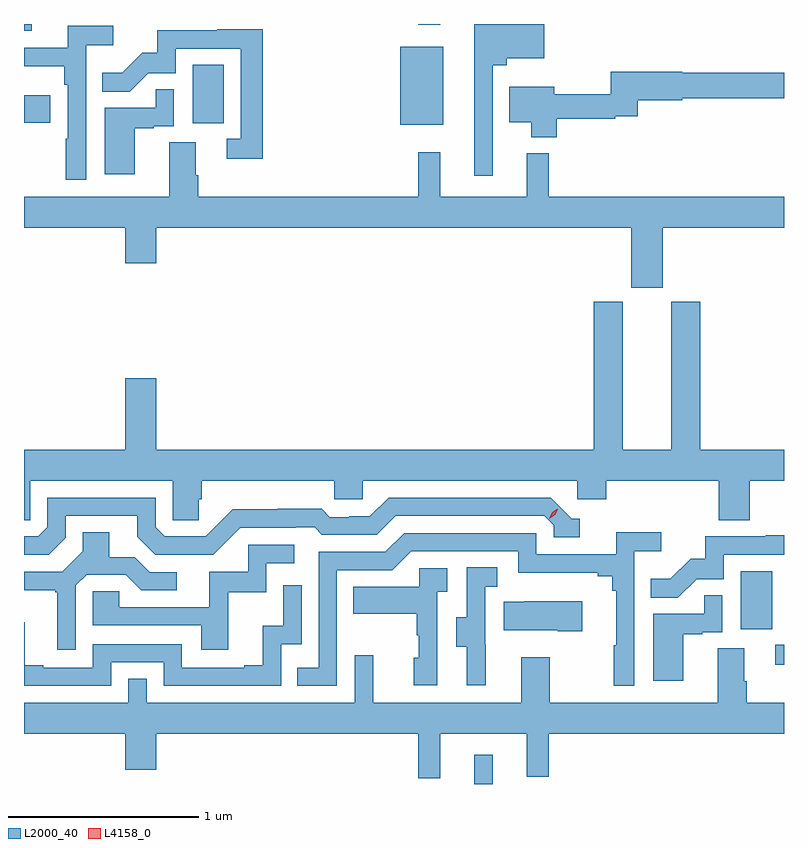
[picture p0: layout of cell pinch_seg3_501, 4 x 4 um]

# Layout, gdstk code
import gdstk
lib = gdstk.Library(unit=1e-6, precision=1e-09)
def R(c, l, rs):  # rectangles x0, y0, x1, y1
    for r in rs: c.add(gdstk.rectangle(r[:2], r[2:], *l))
def P(c, l, *ps):  # polygons
    for p in ps: c.add(gdstk.Polygon(p, *l))
L2000_40 = (2000, 40)
L4158_0 = (4158, 0)

pinch_seg3_501 = lib.new_cell('pinch_seg3_501')
R(pinch_seg3_501, L2000_40, [(982.028,680.672,982.125,680.827), (983.613,681.3,983.659,681.405), (983.432,681.486,983.596,681.793), (981.638,684.143,981.865,684.553), (980.546,684.15,980.71,684.457), (979.659,684.151,979.798,684.298), (979.659,684.636,979.699,684.672), (981.733,684.669,981.85,684.672)])
P(pinch_seg3_501, L2000_40, [(982.125,684.455),(982.199,684.455),(982.199,684.491),(982.398,684.491),(982.398,684.672),(982.028,684.672),(982.028,683.874),(982.125,683.874)],
  [(979.986,684.56),(980.128,684.56),(980.128,684.662),(979.889,684.662),(979.889,684.546),(979.659,684.546),(979.659,684.449),(979.87,684.449),(979.87,684.353),(979.89,684.353),(979.89,684.068),(979.878,684.068),(979.878,683.853),(979.986,683.853)],
  [(980.915,684.644),(980.677,684.644),(980.677,684.639),(980.359,684.639),(980.359,684.522),(980.282,684.522),(980.175,684.415),(980.071,684.415),(980.071,684.316),(980.215,684.316),(980.313,684.414),(980.457,684.414),(980.457,684.543),(980.799,684.543),(980.799,684.069),(980.727,684.069),(980.727,683.964),(980.915,683.964)],
  [(982.463,684.174),(982.772,684.174),(982.772,684.186),(982.889,684.186),(982.889,684.272),(983.124,684.272),(983.124,684.28),(983.659,684.28),(983.659,684.416),(983.124,684.416),(983.124,684.422),(982.748,684.422),(982.748,684.302),(982.45,684.302),(982.45,684.343),(982.214,684.343),(982.214,684.155),(982.328,684.155),(982.328,684.077),(982.463,684.077)],
  [(980.242,684.123),(980.342,684.123),(980.342,684.135),(980.448,684.135),(980.448,684.329),(980.353,684.329),(980.353,684.231),(980.084,684.231),(980.084,683.88),(980.242,683.88)],
  [(983.02,683.6),(983.659,683.6),(983.659,683.764),(982.421,683.764),(982.421,683.992),(982.304,683.992),(982.304,683.764),(981.851,683.764),(981.851,683.998),(981.733,683.998),(981.733,683.764),(980.576,683.764),(980.576,683.876),(980.563,683.876),(980.563,684.05),(980.423,684.05),(980.423,683.764),(979.659,683.764),(979.659,683.6),(980.192,683.6),(980.192,683.412),(980.356,683.412),(980.356,683.6),(982.856,683.6),(982.856,683.283),(983.02,683.283)],
  [(979.692,682.268),(980.442,682.268),(980.442,682.06),(980.579,682.06),(980.579,682.17),(980.594,682.17),(980.594,682.268),(981.291,682.268),(981.291,682.17),(981.441,682.17),(981.441,682.268),(982.572,682.268),(982.572,682.17),(982.724,682.17),(982.724,682.268),(983.315,682.268),(983.315,682.06),(983.48,682.06),(983.48,682.268),(983.659,682.268),(983.659,682.432),(983.219,682.432),(983.219,683.211),(983.066,683.211),(983.066,682.432),(982.81,682.432),(982.81,683.211),(982.658,683.211),(982.658,682.432),(980.356,682.432),(980.356,682.807),(980.192,682.807),(980.192,682.432),(979.659,682.432),(979.659,682.06),(979.692,682.06)],
  [(979.878,681.969),(979.878,682.083),(980.255,682.083),(980.255,681.973),(980.349,681.879),(980.655,681.879),(980.796,682.02),(981.089,682.02),(981.089,682.023),(981.188,682.023),(981.227,681.984),(981.516,681.984),(981.615,682.083),(982.398,682.083),(982.446,682.035),(982.446,681.972),(982.585,681.972),(982.585,682.068),(982.542,682.068),(982.431,682.179),(981.578,682.179),(981.479,682.08),(981.372,682.08),(981.372,682.077),(981.269,682.077),(981.227,682.12),(980.994,682.12),(980.994,682.117),(980.758,682.117),(980.616,681.975),(980.4,681.975),(980.352,682.023),(980.352,682.179),(979.782,682.179),(979.782,682.023),(979.734,681.975),(979.659,681.975),(979.659,681.879),(979.788,681.879)],
  [(979.932,681.717),(979.989,681.774),(980.195,681.774),(980.276,681.693),(980.464,681.693),(980.464,681.786),(980.322,681.786),(980.242,681.866),(980.107,681.866),(980.107,681.998),(979.967,681.998),(979.967,681.896),(979.86,681.789),(979.659,681.789),(979.659,681.692),(979.824,681.692),(979.824,681.681),(979.835,681.681),(979.835,681.378),(979.932,681.378)],
  [(981.306,681.798),(981.597,681.798),(981.696,681.897),(982.26,681.897),(982.26,681.785),(982.679,681.785),(982.679,681.766),(982.756,681.766),(982.756,681.689),(982.775,681.689),(982.775,681.401),(982.764,681.401),(982.764,681.189),(982.872,681.189),(982.872,681.896),(983.014,681.896),(983.014,681.998),(982.775,681.998),(982.775,681.882),(982.356,681.882),(982.356,681.993),(981.659,681.993),(981.56,681.894),(981.21,681.894),(981.21,681.285),(981.097,681.285),(981.097,681.189),(981.306,681.189)],
  [(983.199,681.75),(983.343,681.75),(983.343,681.879),(983.659,681.879),(983.659,681.98),(983.563,681.98),(983.563,681.975),(983.245,681.975),(983.245,681.858),(983.168,681.858),(983.061,681.751),(982.957,681.751),(982.957,681.652),(983.101,681.652)],
  [(980.735,681.681),(980.934,681.681),(980.934,681.834),(981.082,681.834),(981.082,681.93),(980.838,681.93),(980.838,681.789),(980.633,681.789),(980.633,681.603),(980.159,681.603),(980.159,681.687),(980.022,681.687),(980.022,681.507),(980.591,681.507),(980.591,681.378),(980.735,681.378)],
  [(982.088,681.405),(982.086,681.405),(982.086,681.709),(982.15,681.709),(982.15,681.812),(981.99,681.812),(981.99,681.549),(981.935,681.549),(981.935,681.394),(981.989,681.394),(981.989,681.192),(982.088,681.192)],
  [(981.834,681.683),(981.886,681.683),(981.886,681.807),(981.738,681.807),(981.738,681.709),(981.391,681.709),(981.391,681.569),(981.726,681.569),(981.726,681.455),(981.736,681.455),(981.736,681.336),(981.71,681.336),(981.71,681.192),(981.834,681.192)],
  [(980.118,681.312),(980.394,681.312),(980.394,681.189),(981.012,681.189),(981.012,681.408),(981.12,681.408),(981.12,681.718),(981.024,681.718),(981.024,681.506),(980.915,681.506),(980.915,681.298),(980.819,681.298),(980.819,681.285),(980.49,681.285),(980.49,681.408),(980.022,681.408),(980.022,681.285),(979.759,681.285),(979.759,681.298),(979.663,681.298),(979.663,681.523),(979.659,681.523),(979.659,681.189),(980.118,681.189)],
  [(983.128,681.459),(983.228,681.459),(983.228,681.471),(983.334,681.471),(983.334,681.665),(983.239,681.665),(983.239,681.567),(982.97,681.567),(982.97,681.216),(983.128,681.216)],
  [(982.597,681.634),(982.291,681.634),(982.291,681.631),(982.183,681.631),(982.183,681.482),(982.469,681.482),(982.469,681.475),(982.597,681.475)],
  [(981.851,680.936),(982.304,680.936),(982.304,680.711),(982.421,680.711),(982.421,680.936),(983.659,680.936),(983.659,681.1),(983.462,681.1),(983.462,681.212),(983.449,681.212),(983.449,681.386),(983.309,681.386),(983.309,681.1),(982.425,681.1),(982.425,681.34),(982.277,681.34),(982.277,681.1),(981.497,681.1),(981.497,681.349),(981.399,681.349),(981.399,681.1),(980.304,681.1),(980.304,681.227),(980.208,681.227),(980.208,681.1),(979.659,681.1),(979.659,680.936),(980.192,680.936),(980.192,680.748),(980.356,680.748),(980.356,680.936),(981.733,680.936),(981.733,680.703),(981.851,680.703)])
P(pinch_seg3_501, L4158_0, [(982.424,682.067),(982.424,682.068),(982.439,682.101),(982.469,682.121),(982.469,682.121),(982.469,682.121),(982.454,682.088),(982.424,682.067)])

lib.write_gds('pinch_seg3_501.gds')
